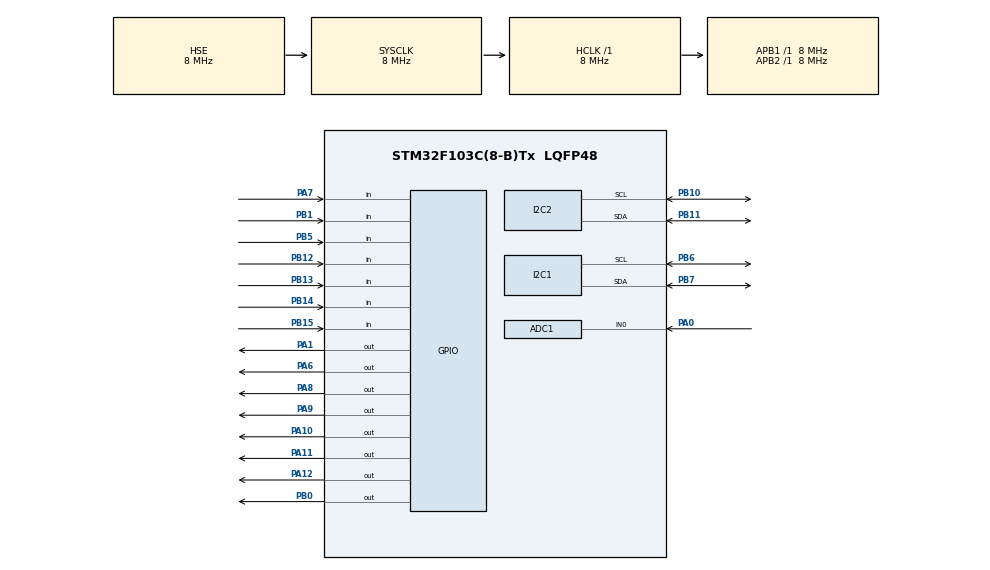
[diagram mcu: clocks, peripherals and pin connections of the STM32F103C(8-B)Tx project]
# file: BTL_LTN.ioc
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ADC1.Channel-0\#ChannelRegularConversion=ADC_CHANNEL_0
ADC1.ContinuousConvMode=ENABLE
ADC1.EnableAnalogWatchDog=true
ADC1.NbrOfConversion=1
ADC1.NbrOfConversionFlag=1
ADC1.Rank-0\#ChannelRegularConversion=1
ADC1.SamplingTime-0\#ChannelRegularConversion=ADC_SAMPLETIME_239CYCLES_5
ADC1.WatchdogMode=ADC_ANALOGWATCHDOG_ALL_REG
ADC1.master=1
Dma.ADC1.0.Direction=DMA_PERIPH_TO_MEMORY
Dma.ADC1.0.Instance=DMA1_Channel1
Dma.ADC1.0.MemDataAlignment=DMA_MDATAALIGN_HALFWORD
Dma.ADC1.0.MemInc=DMA_MINC_ENABLE
Dma.ADC1.0.Mode=DMA_CIRCULAR
Dma.ADC1.0.PeriphDataAlignment=DMA_PDATAALIGN_HALFWORD
Dma.ADC1.0.PeriphInc=DMA_PINC_DISABLE
Dma.ADC1.0.Priority=DMA_PRIORITY_LOW
Dma.Request0=ADC1
Mcu.Family=STM32F1
Mcu.Name=STM32F103C(8-B)Tx
Mcu.Package=LQFP48
NVIC.DMA1_Channel1_IRQn=true\:0\:0\:false\:false\:true\:false\:true\:true
NVIC.PriorityGroup=NVIC_PRIORITYGROUP_4
PA0-WKUP.Signal=ADCx_IN0
PA1.Signal=GPIO_Output
PA10.GPIO_ModeDefaultOutputPP=GPIO_MODE_OUTPUT_PP
PA10.GPIO_PuPd=GPIO_PULLDOWN
PA10.Signal=GPIO_Output
PA11.GPIO_ModeDefaultOutputPP=GPIO_MODE_OUTPUT_PP
PA11.GPIO_PuPd=GPIO_PULLDOWN
PA11.Signal=GPIO_Output
PA12.GPIO_ModeDefaultOutputPP=GPIO_MODE_OUTPUT_PP
PA12.GPIO_PuPd=GPIO_PULLDOWN
PA12.Signal=GPIO_Output
PA13.Mode=Serial_Wire
PA13.Signal=SYS_JTMS-SWDIO
PA14.Mode=Serial_Wire
PA14.Signal=SYS_JTCK-SWCLK
PA3.Signal=USART2_RX
PA6.PinState=GPIO_PIN_RESET
PA6.Signal=GPIO_Output
PA7.Signal=GPIO_Input
PA8.GPIO_ModeDefaultOutputPP=GPIO_MODE_OUTPUT_PP
PA8.GPIO_PuPd=GPIO_PULLDOWN
PA8.Signal=GPIO_Output
PA9.GPIO_ModeDefaultOutputPP=GPIO_MODE_OUTPUT_PP
PA9.GPIO_PuPd=GPIO_PULLDOWN
PA9.Signal=GPIO_Output
PB0.Signal=GPIO_Output
PB1.Signal=GPIO_Input
PB10.Mode=I2C
PB10.Signal=I2C2_SCL
PB11.Mode=I2C
PB11.Signal=I2C2_SDA
PB12.GPIO_Mode=GPIO_MODE_INPUT
PB12.GPIO_PuPd=GPIO_PULLDOWN
PB12.Signal=GPIO_Input
PB13.GPIO_Mode=GPIO_MODE_INPUT
PB13.GPIO_PuPd=GPIO_PULLDOWN
PB13.Signal=GPIO_Input
PB14.GPIO_Mode=GPIO_MODE_INPUT
PB14.GPIO_PuPd=GPIO_PULLDOWN
PB14.Signal=GPIO_Input
PB15.GPIO_Mode=GPIO_MODE_INPUT
PB15.GPIO_PuPd=GPIO_PULLDOWN
PB15.Signal=GPIO_Input
PB5.GPIO_PuPd=GPIO_PULLUP
PB5.Signal=GPIO_Input
PB6.Mode=I2C
PB6.Signal=I2C1_SCL
PB7.Mode=I2C
PB7.Signal=I2C1_SDA
PD0-OSC_IN.Mode=HSE-External-Oscillator
PD0-OSC_IN.Signal=RCC_OSC_IN
PD1-OSC_OUT.Mode=HSE-External-Oscillator
PD1-OSC_OUT.Signal=RCC_OSC_OUT
ProjectManager.HeapSize=0x200
ProjectManager.StackSize=0x400
ProjectManager.TargetToolchain=STM32CubeIDE
RCC.ADCPresc=RCC_ADCPCLK2_DIV4
RCC.AHBFreq_Value=8000000
RCC.APB1Freq_Value=8000000
RCC.APB1TimFreq_Value=8000000
RCC.APB2Freq_Value=8000000
RCC.APB2TimFreq_Value=8000000
RCC.HCLKFreq_Value=8000000
RCC.PLLMUL=RCC_PLL_MUL4
RCC.PLLSourceVirtual=RCC_PLLSOURCE_HSE
RCC.SYSCLKFreq_VALUE=8000000
RCC.SYSCLKSource=RCC_SYSCLKSOURCE_HSE
RCC.USBFreq_Value=32000000
SH.ADCx_IN0.0=ADC1_IN0,IN0
TIM1.Prescaler=71
VP_TIM1_VS_ClockSourceINT.Mode=Internal
board=custom

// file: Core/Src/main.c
/* USER CODE BEGIN Header */
/**
  ******************************************************************************
  * @file           : main.c
  * @brief          : Main program body
  ******************************************************************************
  * @attention
  *
  * Copyright (c) 2023 STMicroelectronics.
  * All rights reserved.
  *
  * This software is licensed under terms that can be found in the LICENSE file
  * in the root directory of this software component.
  * If no LICENSE file comes with this software, it is provided AS-IS.
  *
  ******************************************************************************
  */
/* USER CODE END Header */
#include "main.h"

/* USER CODE BEGIN Includes */
#include "KeyPad.h"
#include "KeyPadConfig.h"
#include "LCD_i2c.h"
#include "DHT11.h"
#include "ds1307_for_stm32_hal.h"
#include "control.h"
#include <stdio.h>
//#define DHT11_PORT GPIOB
//#define DHT11_PIN GPIO_PIN_5

#define DHT11_OK      0
#define DHT11_ERROR   1
/* USER CODE END Includes */

ADC_HandleTypeDef hadc1;
DMA_HandleTypeDef hdma_adc1;

I2C_HandleTypeDef hi2c1;
I2C_HandleTypeDef hi2c2;

TIM_HandleTypeDef htim1;

void SystemClock_Config(void);
static void MX_GPIO_Init(void);
static void MX_DMA_Init(void);
static void MX_I2C1_Init(void);
static void MX_ADC1_Init(void);
static void MX_TIM1_Init(void);
static void MX_I2C2_Init(void);
/* USER CODE BEGIN PFP */
unsigned char password[4] = "3112";
unsigned char key_password[4];
uint32_t var;

uint8_t Rh_byte1, Rh_byte2, Temp_byte1, Temp_byte2;
   uint16_t SUM, RH, TEMP;

   float Temperature = 0;
   float Humidity = 0;
   uint8_t Presence = 0;

//typedef struct {
//    uint8_t Hum;   // Humidity
//    uint8_t Temp;  // Temperature
//} DHT11_Data_TypeDef ;
//
//DHT11_Data_TypeDef DHT11_Data;

//DHT11_Data_TypeDef DHT11_Data;
//
bool check_pass() {
    for (int i = 0; i < 4; ++i) {
        if (password[i] != key_password[i]) {
            return false;
        }
    }
    return true;
}

void delay (uint16_t time)
{
	__HAL_TIM_SET_COUNTER(&htim1, 0);
	while ((__HAL_TIM_GET_COUNTER(&htim1))<time);
}

//static void DHT11_Delay(uint16_t us) {
//    __HAL_TIM_SET_COUNTER(&htim1, 0);
//    while (__HAL_TIM_GET_COUNTER(&htim1) < us);
//}
//
//static uint8_t DHT11_Read_Bit(void) {
//    while (HAL_GPIO_ReadPin(GPIOB, GPIO_PIN_5) == GPIO_PIN_RESET);
//    DHT11_Delay(40);
//    if (HAL_GPIO_ReadPin(GPIOB, GPIO_PIN_5) == GPIO_PIN_SET) {
//        while (HAL_GPIO_ReadPin(GPIOB, GPIO_PIN_5) == GPIO_PIN_SET);
//        return 1;
//    } else {
//        return 0;
//    }
//}
//
//static uint8_t DHT11_Read_Byte(void) {
//    uint8_t i, data = 0;
//    for (i = 0; i < 8; i++) {
//        data <<= 1;
//        data |= DHT11_Read_Bit();
//    }
//    return data;
//}
//
//uint8_t DHT11_Read_Data(DHT11_Data_TypeDef *DHT11_Data) {
//    HAL_GPIO_WritePin(GPIOB, GPIO_PIN_5, GPIO_PIN_RESET);
//    HAL_Delay(18);
//    HAL_GPIO_WritePin(GPIOB, GPIO_PIN_5, GPIO_PIN_SET);
//    DHT11_Delay(30);
//    if (HAL_GPIO_ReadPin(GPIOB, GPIO_PIN_5) == GPIO_PIN_RESET) {
//        while (HAL_GPIO_ReadPin(GPIOB, GPIO_PIN_5) == GPIO_PIN_RESET);
//        while (HAL_GPIO_ReadPin(GPIOB, GPIO_PIN_5) == GPIO_PIN_SET);
//        DHT11_Data->Hum = DHT11_Read_Byte();
//        DHT11_Read_Byte(); // Skip decimal point
//        DHT11_Data->Temp = DHT11_Read_Byte();
//        return DHT11_OK;
//    } else {
//        return DHT11_ERROR;
//    }
//}

/* USER CODE END PFP */

/* USER CODE BEGIN 0 */
enum StateMachine {
	STATE_IDLE,
	STATE_ACTIVE,
	STATE_EMERGENCY,
	STATE_SAFE,
	STATE_OPEN_DOOR,
	STATE_SCREEN_PASSWORD,
	STATE_PASSWORD,
	STATE_WRONG_PASSWORD,
	STATE_TRUE_PASSWORD,
	STATE_MENU_1,
	STATE_MENU_2,
	STATE_GAS,
	STATE_TEMP,
	STATE_TIME
};
volatile enum StateMachine currentstate = STATE_IDLE;
/* USER CODE END 0 */

int main(void)
{

  /* MCU Configuration--------------------------------------------------------*/

  /* Reset of all peripherals, Initializes the Flash interface and the Systick. */
  HAL_Init();

  /* Configure the system clock */
  SystemClock_Config();

  /* Initialize all configured peripherals */
  MX_GPIO_Init();
  MX_DMA_Init();
  MX_I2C1_Init();
  MX_ADC1_Init();
  MX_TIM1_Init();
  MX_I2C2_Init();
  /* USER CODE BEGIN 2 */
  HAL_TIM_Base_Start(&htim1);
      HAL_ADC_Start_DMA(&hadc1, &var, 1);

      lcd_init();
        lcd_clear_display();
        lcd_goto_XY(1, 2);
        lcd_send_string("SMART HOME");

        const char *DAYS_OF_WEEK[7] = { "Sun", "Mon", "Tue", "Wed", "Thu", "Fri", "Sat" };
        	/* Start DS1307 timing. Pass user I2C handle pointer to function. */
        	DS1307_Init(&hi2c2);
        	/* To test leap year correction. */
        	DS1307_SetTimeZone(+8, 00);
        	DS1307_SetDate(12);
        	DS1307_SetMonth(12);
        	DS1307_SetYear(2023);
        	DS1307_SetDayOfWeek(2);
        	DS1307_SetHour(9);
        	DS1307_SetMinute(17);
        	DS1307_SetSecond(30);

  /* USER CODE END 2 */

  /* Infinite loop */
  while (1)
  {

    /* USER CODE BEGIN 3 */
          unsigned char press_keypad = KEYPAD_GetChar();
            uint8_t date = DS1307_GetDate();
			uint8_t month = DS1307_GetMonth();
			uint16_t year = DS1307_GetYear();
			uint8_t dow = DS1307_GetDayOfWeek();
			uint8_t hour = DS1307_GetHour();
			uint8_t minute = DS1307_GetMinute();
			uint8_t second = DS1307_GetSecond();
			int8_t zone_hr = DS1307_GetTimeZoneHour();
			uint8_t zone_min = DS1307_GetTimeZoneMin();
//          DHT11_Start();
          /* USER CODE END WHILE */

             switch(currentstate){
             case STATE_IDLE:
               lcd_goto_XY(1, 0);
               lcd_send_string("  SMART HOME");
               if(press_keypad != 0){
                 currentstate = STATE_SCREEN_PASSWORD;
               }
               break;

             case STATE_ACTIVE:
               lcd_clear_display();
               break;

             case STATE_EMERGENCY:
            	 lcd_goto_XY(1, 0);
            	 lcd_send_string("GAS IS LEAKING !");
            	 lcd_goto_XY(2, 0);
            	 lcd_send_string(" EMERGENCY !");
            	 HAL_Delay(2000);
            	 lcd_clear_display();
            	 char gas_var2 = gas(var);
            	 if(gas_var2 <= 30){HAL_Delay(200); lcd_clear_display(); currentstate = STATE_SAFE; break;}
            	 else{
            		 lcd_goto_XY(1, 0);
            		 lcd_send_string("OPEN THE DOOR !");
            		 if(press_keypad == 'C'){HAL_Delay(200);  lcd_clear_display(); currentstate = STATE_IDLE; break;}
            		 if(press_keypad == '*'){HAL_Delay(200);  lcd_clear_display(); currentstate = STATE_IDLE; break;}
            	 }
            	 if(press_keypad == 'C'){HAL_Delay(200);  lcd_clear_display(); currentstate = STATE_IDLE;}

               break;

             case STATE_SAFE:
            	 lcd_goto_XY(1, 0);
            	 lcd_send_string("IT'S SAFE NOW");
            	 HAL_Delay(2000);
            	 lcd_clear_display();
            	 currentstate = STATE_GAS;
               break;

             case STATE_OPEN_DOOR:
               break;

             case STATE_SCREEN_PASSWORD:
               currentstate = STATE_PASSWORD;
               lcd_clear_display();
               lcd_goto_XY(1, 0);
               lcd_send_string("  PASSWORD");
               lcd_goto_XY(2, 2);
               int k = 0;
               break;

             case STATE_PASSWORD:
               HAL_Delay(100);
               if(press_keypad != 0){
                 HAL_Delay(100);
                 lcd_send_data(press_keypad);
                 HAL_Delay(100);
                 key_password[k] = press_keypad;
                 k++;
                 if(k == 4){
                   if(check_pass() == true){
                     currentstate = STATE_TRUE_PASSWORD;
                     HAL_Delay(100);
                     lcd_clear_display();
                     lcd_goto_XY(1, 0);
                     lcd_send_string("  SUCCESS !!");
                     lcd_goto_XY(2, 1);
                     lcd_send_string("OPEN THE DOOR");
                     HAL_Delay(1000);
                     lcd_clear_display();
                   }
                   else{
                     HAL_Delay(100);
                     lcd_clear_display();
                     lcd_goto_XY(1, 0);
                     lcd_send_string("  FAILURE !!");
                     lcd_goto_XY(2, 1);
                     lcd_send_string("TRY AGAIN");
                     HAL_Delay(1000);
                     currentstate = STATE_WRONG_PASSWORD;
                   }
                   HAL_Delay(100);
                 }
               }
               break;

             case STATE_TRUE_PASSWORD:
               HAL_Delay(100);
               lcd_goto_XY(1, 0);
               lcd_send_string("  MENU");
               lcd_goto_XY(2, 1);
               lcd_send_string("1. GAS");
               if(press_keypad == 'R'){HAL_Delay(200);  lcd_clear_display(); currentstate = STATE_MENU_1;}
               else if(press_keypad == 'L'){HAL_Delay(200);  lcd_clear_display(); currentstate =STATE_MENU_2;}
               else if(press_keypad == 'E'){HAL_Delay(200);  lcd_clear_display(); currentstate = STATE_GAS;}
               if(press_keypad == 'C'){HAL_Delay(200);  lcd_clear_display(); currentstate = STATE_IDLE;}
               break;

             case STATE_WRONG_PASSWORD:
               currentstate = STATE_SCREEN_PASSWORD;
               break;

             case STATE_MENU_1:
               HAL_Delay(100);
             lcd_goto_XY(1, 0);
             lcd_send_string("  MENU");
             lcd_goto_XY(2, 1);
             lcd_send_string("2. TEMP");
             if(press_keypad == 'R'){HAL_Delay(200);  lcd_clear_display(); currentstate = STATE_MENU_2;}
             else if(press_keypad == 'L'){HAL_Delay(200);  lcd_clear_display(); currentstate = STATE_TRUE_PASSWORD;}
             else if(press_keypad == 'E'){HAL_Delay(200);  lcd_clear_display(); currentstate = STATE_TEMP;}
             if(press_keypad == 'C'){HAL_Delay(200);  lcd_clear_display(); currentstate = STATE_IDLE;}
             break;

             case STATE_MENU_2:
               HAL_Delay(100);
             lcd_goto_XY(1, 0);
             lcd_send_string("  MENU");
             lcd_goto_XY(2, 1);
             lcd_send_string("3. TIME");
             if(press_keypad == 'R'){HAL_Delay(200);  lcd_clear_display(); currentstate = STATE_TRUE_PASSWORD;}
             else if(press_keypad == 'L'){HAL_Delay(200);  lcd_clear_display(); currentstate = STATE_MENU_1;}
             else if(press_keypad == 'E'){HAL_Delay(200);  lcd_clear_display(); currentstate = STATE_TIME;}
             if(press_keypad == 'C'){HAL_Delay(200);  lcd_clear_display(); currentstate = STATE_IDLE;}
               break;

             case STATE_GAS:
               HAL_Delay(100);
               		 char gas_var = gas(var);
                     lcd_goto_XY(1, 0);
                     lcd_send_string("GAS: ");
                     lcd_send_data(gas_var/100 + '0');
                     lcd_send_data((gas_var%100)/10 + '0');
                     lcd_send_data(gas_var%10 + '0');
                     if(gas_var >= 90){HAL_Delay(200); lcd_clear_display(); currentstate = STATE_EMERGENCY; break;}
                    if(press_keypad == 'C'){HAL_Delay(200);  lcd_clear_display(); currentstate = STATE_IDLE;}
                    if(press_keypad == 'L'){HAL_Delay(200);  lcd_clear_display(); currentstate = STATE_TRUE_PASSWORD;}
               break;

             case STATE_TEMP:
               HAL_Delay(100);
               DHT11_Start();
              	  	     Presence = DHT11_Check_Response(); // record the response from the sensor

              	  	     // Five bytes of data
              	  	     Rh_byte1 = DHT11_Read();
              	  	     Rh_byte2 = DHT11_Read();
              	  	     Temp_byte1 = DHT11_Read();
              	  	     Temp_byte2 = DHT11_Read();
              	  	     SUM = DHT11_Read();

              	  	     TEMP = Temp_byte1;
              	  	     RH = Rh_byte1;

              	  	     Temperature = (float)TEMP;
              	  	     Humidity = (float)RH;

              	  	     Display_Temp(Temperature);
              	  	     Display_Rh(Humidity);

              	  	     HAL_Delay(1200);
            	   if(press_keypad == 'C'){HAL_Delay(200);  lcd_clear_display(); currentstate = STATE_IDLE; break;}
				   if(press_keypad == 'L'){HAL_Delay(200);  lcd_clear_display(); currentstate = STATE_MENU_1; break;}

    //              if(press_keypad == 'C'){HAL_Delay(200);  lcd_clear_display(); currentstate = STATE_IDLE;}
    //              if(press_keypad == 'L'){HAL_Delay(200);  lcd_clear_display(); currentstate = STATE_MENU_1;}
               break;

             case STATE_TIME:
               HAL_Delay(100);

               		char buffer[100] = { 0 };
               		sprintf(buffer, "%s: %02d-%02d-%04d \n", DAYS_OF_WEEK[dow], date, month, year);
               		lcd_goto_XY(1, 0);
               		lcd_send_string(buffer);

               		sprintf(buffer, "%02d:%02d:%02d  \n",hour, minute, second);
					lcd_goto_XY(2, 0);
					lcd_send_string(buffer);
               		/* May show warning below. Ignore and proceed. */
//               		HAL_UART_Transmit(&huart1, buffer, strlen(buffer), 1000);
               		HAL_Delay(250);
                  if(press_keypad == 'C'){HAL_Delay(200);  lcd_clear_display(); currentstate = STATE_IDLE;}
                  if(press_keypad == 'L'){HAL_Delay(200);  lcd_clear_display(); currentstate = STATE_MENU_2;}
                       break;
               break;
             }
        /* USER CODE BEGIN 3 */
      }
  /* USER CODE END 3 */
}

void SystemClock_Config(void)
{
  RCC_OscInitTypeDef RCC_OscInitStruct = {0};
  RCC_ClkInitTypeDef RCC_ClkInitStruct = {0};
  RCC_PeriphCLKInitTypeDef PeriphClkInit = {0};

  /** Initializes the RCC Oscillators according to the specified parameters
  * in the RCC_OscInitTypeDef structure.
  */
  RCC_OscInitStruct.OscillatorType = RCC_OSCILLATORTYPE_HSE;
  RCC_OscInitStruct.HSEState = RCC_HSE_ON;
  RCC_OscInitStruct.PLL.PLLState = RCC_PLL_NONE;
  if (HAL_RCC_OscConfig(&RCC_OscInitStruct) != HAL_OK)
  {
    Error_Handler();
  }

  /** Initializes the CPU, AHB and APB buses clocks
  */
  RCC_ClkInitStruct.ClockType = RCC_CLOCKTYPE_HCLK|RCC_CLOCKTYPE_SYSCLK
                              |RCC_CLOCKTYPE_PCLK1|RCC_CLOCKTYPE_PCLK2;
  RCC_ClkInitStruct.SYSCLKSource = RCC_SYSCLKSOURCE_HSE;
  RCC_ClkInitStruct.AHBCLKDivider = RCC_SYSCLK_DIV1;
  RCC_ClkInitStruct.APB1CLKDivider = RCC_HCLK_DIV1;
  RCC_ClkInitStruct.APB2CLKDivider = RCC_HCLK_DIV1;

  if (HAL_RCC_ClockConfig(&RCC_ClkInitStruct, FLASH_LATENCY_0) != HAL_OK)
  {
    Error_Handler();
  }
  PeriphClkInit.PeriphClockSelection = RCC_PERIPHCLK_ADC;
  PeriphClkInit.AdcClockSelection = RCC_ADCPCLK2_DIV4;
  if (HAL_RCCEx_PeriphCLKConfig(&PeriphClkInit) != HAL_OK)
  {
    Error_Handler();
  }
}

static void MX_ADC1_Init(void)
{

  ADC_AnalogWDGConfTypeDef AnalogWDGConfig = {0};
  ADC_ChannelConfTypeDef sConfig = {0};

  /** Common config
  */
  hadc1.Instance = ADC1;
  hadc1.Init.ScanConvMode = ADC_SCAN_DISABLE;
  hadc1.Init.ContinuousConvMode = ENABLE;
  hadc1.Init.DiscontinuousConvMode = DISABLE;
  hadc1.Init.ExternalTrigConv = ADC_SOFTWARE_START;
  hadc1.Init.DataAlign = ADC_DATAALIGN_RIGHT;
  hadc1.Init.NbrOfConversion = 1;
  if (HAL_ADC_Init(&hadc1) != HAL_OK)
  {
    Error_Handler();
  }

  /** Configure Analog WatchDog 1
  */
  AnalogWDGConfig.WatchdogMode = ADC_ANALOGWATCHDOG_ALL_REG;
  AnalogWDGConfig.HighThreshold = 0;
  AnalogWDGConfig.LowThreshold = 0;
  AnalogWDGConfig.ITMode = DISABLE;
  if (HAL_ADC_AnalogWDGConfig(&hadc1, &AnalogWDGConfig) != HAL_OK)
  {
    Error_Handler();
  }

  /** Configure Regular Channel
  */
  sConfig.Channel = ADC_CHANNEL_0;
  sConfig.Rank = ADC_REGULAR_RANK_1;
  sConfig.SamplingTime = ADC_SAMPLETIME_239CYCLES_5;
  if (HAL_ADC_ConfigChannel(&hadc1, &sConfig) != HAL_OK)
  {
    Error_Handler();
  }

}

static void MX_I2C1_Init(void)
{

  hi2c1.Instance = I2C1;
  hi2c1.Init.ClockSpeed = 100000;
  hi2c1.Init.DutyCycle = I2C_DUTYCYCLE_2;
  hi2c1.Init.OwnAddress1 = 0;
  hi2c1.Init.AddressingMode = I2C_ADDRESSINGMODE_7BIT;
  hi2c1.Init.DualAddressMode = I2C_DUALADDRESS_DISABLE;
  hi2c1.Init.OwnAddress2 = 0;
  hi2c1.Init.GeneralCallMode = I2C_GENERALCALL_DISABLE;
  hi2c1.Init.NoStretchMode = I2C_NOSTRETCH_DISABLE;
  if (HAL_I2C_Init(&hi2c1) != HAL_OK)
  {
    Error_Handler();
  }

}

static void MX_I2C2_Init(void)
{

  hi2c2.Instance = I2C2;
  hi2c2.Init.ClockSpeed = 100000;
  hi2c2.Init.DutyCycle = I2C_DUTYCYCLE_2;
  hi2c2.Init.OwnAddress1 = 0;
  hi2c2.Init.AddressingMode = I2C_ADDRESSINGMODE_7BIT;
  hi2c2.Init.DualAddressMode = I2C_DUALADDRESS_DISABLE;
  hi2c2.Init.OwnAddress2 = 0;
  hi2c2.Init.GeneralCallMode = I2C_GENERALCALL_DISABLE;
  hi2c2.Init.NoStretchMode = I2C_NOSTRETCH_DISABLE;
  if (HAL_I2C_Init(&hi2c2) != HAL_OK)
  {
    Error_Handler();
  }

}

static void MX_TIM1_Init(void)
{

  TIM_ClockConfigTypeDef sClockSourceConfig = {0};
  TIM_MasterConfigTypeDef sMasterConfig = {0};

  htim1.Instance = TIM1;
  htim1.Init.Prescaler = 71;
  htim1.Init.CounterMode = TIM_COUNTERMODE_UP;
  htim1.Init.Period = 65535;
  htim1.Init.ClockDivision = TIM_CLOCKDIVISION_DIV1;
  htim1.Init.RepetitionCounter = 0;
  htim1.Init.AutoReloadPreload = TIM_AUTORELOAD_PRELOAD_DISABLE;
  if (HAL_TIM_Base_Init(&htim1) != HAL_OK)
  {
    Error_Handler();
  }
  sClockSourceConfig.ClockSource = TIM_CLOCKSOURCE_INTERNAL;
  if (HAL_TIM_ConfigClockSource(&htim1, &sClockSourceConfig) != HAL_OK)
  {
    Error_Handler();
  }
  sMasterConfig.MasterOutputTrigger = TIM_TRGO_RESET;
  sMasterConfig.MasterSlaveMode = TIM_MASTERSLAVEMODE_DISABLE;
  if (HAL_TIMEx_MasterConfigSynchronization(&htim1, &sMasterConfig) != HAL_OK)
  {
    Error_Handler();
  }

}

static void MX_DMA_Init(void)
{

  /* DMA controller clock enable */
  __HAL_RCC_DMA1_CLK_ENABLE();

  /* DMA interrupt init */
  /* DMA1_Channel1_IRQn interrupt configuration */
  HAL_NVIC_SetPriority(DMA1_Channel1_IRQn, 0, 0);
  HAL_NVIC_EnableIRQ(DMA1_Channel1_IRQn);

}

static void MX_GPIO_Init(void)
{
  GPIO_InitTypeDef GPIO_InitStruct = {0};

  /* GPIO Ports Clock Enable */
  __HAL_RCC_GPIOD_CLK_ENABLE();
  __HAL_RCC_GPIOA_CLK_ENABLE();
  __HAL_RCC_GPIOB_CLK_ENABLE();

  /*Configure GPIO pin Output Level */
  HAL_GPIO_WritePin(GPIOA, GPIO_PIN_1|GPIO_PIN_6|GPIO_PIN_8|GPIO_PIN_9
                          |GPIO_PIN_10|GPIO_PIN_11|GPIO_PIN_12, GPIO_PIN_RESET);

  /*Configure GPIO pin Output Level */
  HAL_GPIO_WritePin(GPIOB, GPIO_PIN_0, GPIO_PIN_RESET);

  /*Configure GPIO pins : PA1 PA6 */
  GPIO_InitStruct.Pin = GPIO_PIN_1|GPIO_PIN_6;
  GPIO_InitStruct.Mode = GPIO_MODE_OUTPUT_PP;
  GPIO_InitStruct.Pull = GPIO_NOPULL;
  GPIO_InitStruct.Speed = GPIO_SPEED_FREQ_LOW;
  HAL_GPIO_Init(GPIOA, &GPIO_InitStruct);

  /*Configure GPIO pin : PA3 */
  GPIO_InitStruct.Pin = GPIO_PIN_3;
  GPIO_InitStruct.Mode = GPIO_MODE_INPUT;
  GPIO_InitStruct.Pull = GPIO_NOPULL;
  HAL_GPIO_Init(GPIOA, &GPIO_InitStruct);

  /*Configure GPIO pin : PA7 */
  GPIO_InitStruct.Pin = GPIO_PIN_7;
  GPIO_InitStruct.Mode = GPIO_MODE_INPUT;
  GPIO_InitStruct.Pull = GPIO_NOPULL;
  HAL_GPIO_Init(GPIOA, &GPIO_InitStruct);

  /*Configure GPIO pin : PB0 */
  GPIO_InitStruct.Pin = GPIO_PIN_0;
  GPIO_InitStruct.Mode = GPIO_MODE_OUTPUT_PP;
  GPIO_InitStruct.Pull = GPIO_NOPULL;
  GPIO_InitStruct.Speed = GPIO_SPEED_FREQ_LOW;
  HAL_GPIO_Init(GPIOB, &GPIO_InitStruct);

  /*Configure GPIO pin : PB1 */
  GPIO_InitStruct.Pin = GPIO_PIN_1;
  GPIO_InitStruct.Mode = GPIO_MODE_INPUT;
  GPIO_InitStruct.Pull = GPIO_NOPULL;
  HAL_GPIO_Init(GPIOB, &GPIO_InitStruct);

  /*Configure GPIO pins : PB12 PB13 PB14 PB15 */
  GPIO_InitStruct.Pin = GPIO_PIN_12|GPIO_PIN_13|GPIO_PIN_14|GPIO_PIN_15;
  GPIO_InitStruct.Mode = GPIO_MODE_INPUT;
  GPIO_InitStruct.Pull = GPIO_PULLDOWN;
  HAL_GPIO_Init(GPIOB, &GPIO_InitStruct);

  /*Configure GPIO pins : PA8 PA9 PA10 PA11
                           PA12 */
  GPIO_InitStruct.Pin = GPIO_PIN_8|GPIO_PIN_9|GPIO_PIN_10|GPIO_PIN_11
                          |GPIO_PIN_12;
  GPIO_InitStruct.Mode = GPIO_MODE_OUTPUT_PP;
  GPIO_InitStruct.Pull = GPIO_PULLDOWN;
  GPIO_InitStruct.Speed = GPIO_SPEED_FREQ_LOW;
  HAL_GPIO_Init(GPIOA, &GPIO_InitStruct);

  /*Configure GPIO pin : PB5 */
  GPIO_InitStruct.Pin = GPIO_PIN_5;
  GPIO_InitStruct.Mode = GPIO_MODE_INPUT;
  GPIO_InitStruct.Pull = GPIO_PULLUP;
  HAL_GPIO_Init(GPIOB, &GPIO_InitStruct);

}

void Error_Handler(void)
{
  __disable_irq();
  while (1)
  {
  }
}
